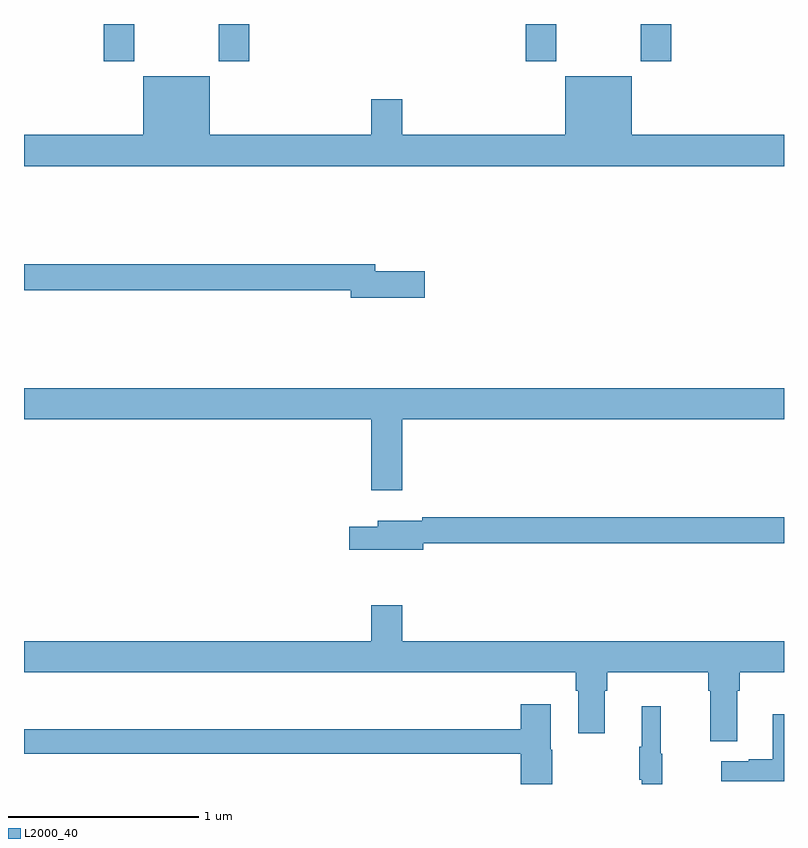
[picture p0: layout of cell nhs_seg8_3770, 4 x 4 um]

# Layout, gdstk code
import gdstk
lib = gdstk.Library(unit=1e-6, precision=1e-09)
def R(c, l, rs):  # rectangles x0, y0, x1, y1
    for r in rs: c.add(gdstk.rectangle(r[:2], r[2:], *l))
def P(c, l, *ps):  # polygons
    for p in ps: c.add(gdstk.Polygon(p, *l))
L2000_40 = (2000, 40)

nhs_seg8_3770 = lib.new_cell('nhs_seg8_3770')
R(nhs_seg8_3770, L2000_40, [(343.421,1131.705,343.581,1131.9), (344.026,1131.705,344.186,1131.9), (345.641,1131.705,345.801,1131.9), (346.246,1131.705,346.406,1131.9)])
P(nhs_seg8_3770, L2000_40, [(347,1131.316),(346.198,1131.316),(346.198,1131.625),(345.848,1131.625),(345.848,1131.316),(344.992,1131.316),(344.992,1131.505),(344.828,1131.505),(344.828,1131.316),(343.978,1131.316),(343.978,1131.625),(343.628,1131.625),(343.628,1131.316),(343,1131.316),(343,1131.152),(347,1131.152)],
  [(345.109,1130.6),(344.848,1130.6),(344.848,1130.636),(343,1130.636),(343,1130.5),(344.72,1130.5),(344.72,1130.458),(345.109,1130.458)],
  [(344.992,1129.82),(347,1129.82),(347,1129.984),(343,1129.984),(343,1129.82),(344.828,1129.82),(344.828,1129.446),(344.992,1129.446)],
  [(345.1,1129.168),(347,1129.168),(347,1129.304),(345.096,1129.304),(345.096,1129.285),(344.861,1129.285),(344.861,1129.255),(344.712,1129.255),(344.712,1129.133),(345.1,1129.133)],
  [(346.753,1128.392),(346.766,1128.392),(346.766,1128.488),(347,1128.488),(347,1128.652),(344.992,1128.652),(344.992,1128.841),(344.828,1128.841),(344.828,1128.652),(343,1128.652),(343,1128.488),(345.905,1128.488),(345.905,1128.392),(345.917,1128.392),(345.917,1128.168),(346.057,1128.168),(346.057,1128.392),(346.07,1128.392),(346.07,1128.488),(346.601,1128.488),(346.601,1128.392),(346.613,1128.392),(346.613,1128.126),(346.753,1128.126)],
  [(345.78,1128.081),(345.772,1128.081),(345.772,1128.319),(345.614,1128.319),(345.614,1128.187),(343,1128.187),(343,1128.058),(345.614,1128.058),(345.614,1127.9),(345.78,1127.9)],
  [(346.36,1128.06),(346.352,1128.06),(346.352,1128.31),(346.25,1128.31),(346.25,1128.097),(346.239,1128.097),(346.239,1127.923),(346.25,1127.923),(346.25,1127.9),(346.36,1127.9)],
  [(347,1128.268),(346.94,1128.268),(346.94,1128.029),(346.814,1128.029),(346.814,1128.019),(346.671,1128.019),(346.671,1127.915),(347,1127.915)])

lib.write_gds('nhs_seg8_3770.gds')
